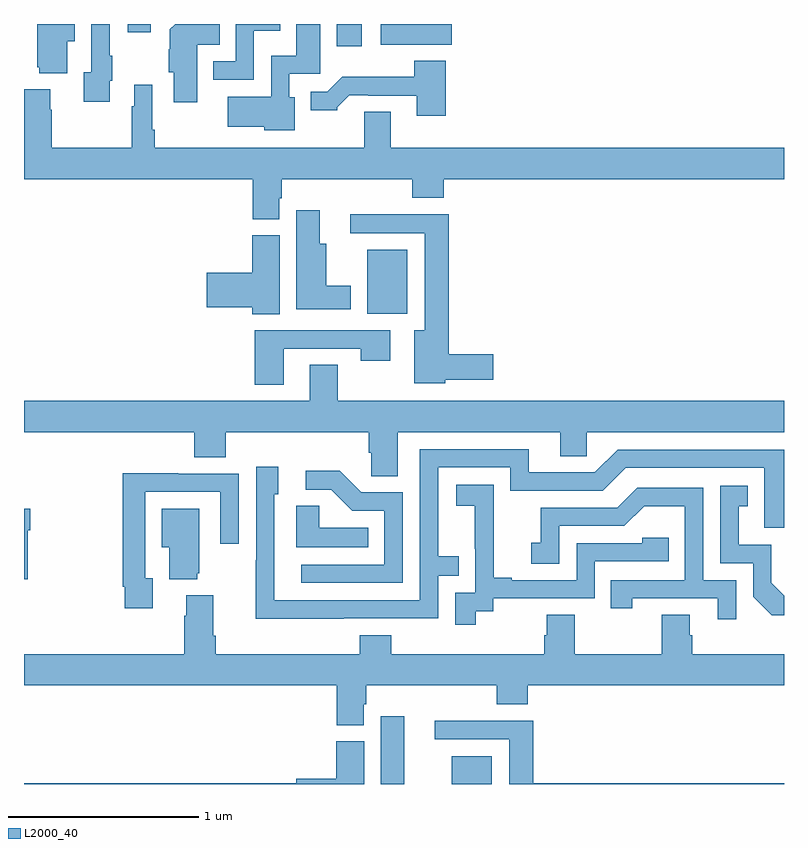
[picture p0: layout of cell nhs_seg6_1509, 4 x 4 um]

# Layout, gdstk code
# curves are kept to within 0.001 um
import gdstk
lib = gdstk.Library(unit=1e-6, precision=1e-09)
def R(c, l, rs):  # rectangles x0, y0, x1, y1
    for r in rs: c.add(gdstk.rectangle(r[:2], r[2:], *l))
def P(c, l, *ps):  # polygons
    for p in ps: c.add(gdstk.Polygon(p, *l))
L2000_40 = (2000, 40)

nhs_seg6_1509 = lib.new_cell('nhs_seg6_1509')
R(nhs_seg6_1509, L2000_40, [(204.878,929.5,205,929.857), (205.25,929.5,205.462,929.647), (204.806,931.976,205.018,932.311), (204.647,933.384,204.778,933.5), (204.878,933.392,205.252,933.5), (203.546,933.456,203.668,933.5)])
P(nhs_seg6_1509, L2000_40, [(203.227,933.41),(203.266,933.41),(203.266,933.5),(203.069,933.5),(203.069,933.273),(203.081,933.273),(203.081,933.242),(203.227,933.242)],
  [(204.21,933.464),(204.349,933.464),(204.349,933.5),(204.114,933.5),(204.114,933.303),(203.997,933.303),(203.997,933.207),(204.21,933.207)],
  [(203.451,933.202),(203.464,933.202),(203.464,933.334),(203.451,933.334),(203.451,933.5),(203.355,933.5),(203.355,933.246),(203.315,933.246),(203.315,933.09),(203.451,933.09)],
  [(204.424,933.114),(204.396,933.114),(204.396,933.237),(204.559,933.237),(204.559,933.5),(204.434,933.5),(204.434,933.334),(204.3,933.334),(204.3,933.118),(204.072,933.118),(204.072,932.96),(204.264,932.96),(204.264,932.942),(204.424,932.942)],
  [(203.911,933.392),(204.029,933.392),(204.029,933.5),(203.796,933.5),(203.768,933.472),(203.768,933.368),(203.761,933.368),(203.761,933.246),(203.789,933.246),(203.789,933.087),(203.911,933.087)],
  [(205.22,933.307),(205.055,933.307),(205.055,933.223),(204.676,933.223),(204.597,933.144),(204.509,933.144),(204.509,933.047),(204.648,933.047),(204.648,933.062),(204.712,933.126),(204.811,933.126),(204.811,933.123),(205.067,933.123),(205.067,933.018),(205.22,933.018)],
  [(204.343,932.583),(204.356,932.583),(204.356,932.684),(205.043,932.684),(205.043,932.585),(205.208,932.585),(205.208,932.684),(207,932.684),(207,932.848),(204.931,932.848),(204.931,933.038),(204.791,933.038),(204.791,932.848),(203.689,932.848),(203.689,932.944),(203.676,932.944),(203.676,933.181),(203.58,933.181),(203.58,933.068),(203.568,933.068),(203.568,932.848),(203.145,932.848),(203.145,933.05),(203.137,933.05),(203.137,933.157),(203,933.157),(203,932.684),(204.203,932.684),(204.203,932.473),(204.343,932.473)],
  [(204.721,932.122),(204.592,932.122),(204.592,932.344),(204.556,932.344),(204.556,932.521),(204.434,932.521),(204.434,932),(204.721,932)],
  [(205.218,931.628),(205.471,931.628),(205.471,931.763),(205.235,931.763),(205.235,932.498),(204.717,932.498),(204.717,932.4),(205.109,932.4),(205.109,931.888),(205.055,931.888),(205.055,931.61),(205.218,931.61)],
  [(204.346,932.388),(204.2,932.388),(204.2,932.192),(203.961,932.192),(203.961,932.009),(204.2,932.009),(204.2,931.972),(204.346,931.972)],
  [(204.367,931.791),(204.772,931.791),(204.772,931.728),(204.928,931.728),(204.928,931.887),(204.215,931.887),(204.215,931.602),(204.367,931.602)],
  [(204.967,931.352),(205.823,931.352),(205.823,931.225),(205.962,931.225),(205.962,931.352),(207,931.352),(207,931.516),(204.651,931.516),(204.651,931.706),(204.503,931.706),(204.503,931.516),(203,931.516),(203,931.352),(203.897,931.352),(203.897,931.219),(204.062,931.219),(204.062,931.352),(204.815,931.352),(204.815,931.243),(204.828,931.243),(204.828,931.12),(204.967,931.12)],
  [(204.683,930.372),(205.179,930.372),(205.179,930.597),(205.289,930.597),(205.289,930.698),(205.179,930.698),(205.179,931.167),(205.56,931.167),(205.56,931.044),(206.046,931.044),(206.166,931.164),(206.895,931.164),(206.895,930.849),(207,930.849),(207,931.26),(206.124,931.26),(206.004,931.14),(205.657,931.14),(205.657,931.263),(205.083,931.263),(205.083,930.468),(204.318,930.468),(204.318,931.026),(204.337,931.026),(204.337,931.171),(204.222,931.171),(204.222,930.677),(204.22,930.677),(204.22,930.371)],
  [(204.993,931.035),(204.774,931.035),(204.661,931.148),(204.483,931.148),(204.483,931.05),(204.617,931.05),(204.728,930.939),(204.897,930.939),(204.897,930.654),(204.459,930.654),(204.459,930.558),(204.993,930.558)],
  [(203.677,930.582),(203.637,930.582),(203.637,931.038),(204.033,931.038),(204.033,930.765),(204.129,930.765),(204.129,931.134),(203.813,931.134),(203.813,931.136),(203.521,931.136),(203.521,930.538),(203.529,930.538),(203.529,930.426),(203.677,930.426)],
  [(205.378,930.409),(205.47,930.409),(205.47,930.477),(206.004,930.477),(206.004,930.672),(206.393,930.672),(206.393,930.795),(206.253,930.795),(206.253,930.768),(205.908,930.768),(205.908,930.573),(205.567,930.573),(205.567,930.586),(205.472,930.586),(205.472,930.869),(205.473,930.869),(205.473,931.075),(205.275,931.075),(205.275,930.965),(205.373,930.965),(205.373,930.737),(205.374,930.737),(205.374,930.507),(205.269,930.507),(205.269,930.339),(205.378,930.339)],
  [(207,930.492),(206.934,930.558),(206.934,930.759),(206.761,930.759),(206.761,930.963),(206.81,930.963),(206.81,931.069),(206.664,931.069),(206.664,930.663),(206.838,930.663),(206.838,930.486),(206.936,930.389),(207,930.389)],
  [(206.748,930.573),(206.574,930.573),(206.574,931.059),(206.228,931.059),(206.123,930.954),(205.72,930.954),(205.72,930.769),(205.671,930.769),(205.671,930.66),(205.818,930.66),(205.818,930.858),(206.16,930.858),(206.264,930.962),(206.478,930.962),(206.478,930.573),(206.089,930.573),(206.089,930.426),(206.2,930.426),(206.2,930.477),(206.651,930.477),(206.651,930.366),(206.748,930.366)],
  [(204.812,930.85),(204.555,930.85),(204.555,930.965),(204.434,930.965),(204.434,930.746),(204.812,930.746)],
  [(203.02,930.836),(203.033,930.836),(203.033,930.949),(203,930.949),(203,930.578),(203.02,930.578)],
  [(203.912,930.609),(203.923,930.609),(203.923,930.949),(203.726,930.949),(203.726,930.746),(203.765,930.746),(203.765,930.578),(203.912,930.578)],
  [(204.787,929.919),(204.8,929.919),(204.8,930.02),(205.487,930.02),(205.487,929.921),(205.652,929.921),(205.652,930.02),(207,930.02),(207,930.184),(206.516,930.184),(206.516,930.282),(206.503,930.282),(206.503,930.392),(206.356,930.392),(206.356,930.184),(205.899,930.184),(205.899,930.392),(205.751,930.392),(205.751,930.282),(205.739,930.282),(205.739,930.184),(204.932,930.184),(204.932,930.283),(204.767,930.283),(204.767,930.184),(204.008,930.184),(204.008,930.28),(203.995,930.28),(203.995,930.493),(203.855,930.493),(203.855,930.386),(203.843,930.386),(203.843,930.184),(203,930.184),(203,930.02),(204.647,930.02),(204.647,929.809),(204.787,929.809)],
  [(207,929.504),(205.679,929.504),(205.679,929.834),(205.161,929.834),(205.161,929.736),(205.553,929.736),(205.553,929.5),(207,929.5)],
  [(204.79,929.724),(204.644,929.724),(204.644,929.528),(204.434,929.528),(204.434,929.504),(203,929.504),(203,929.5),(204.79,929.5)])

lib.write_gds('nhs_seg6_1509.gds')
